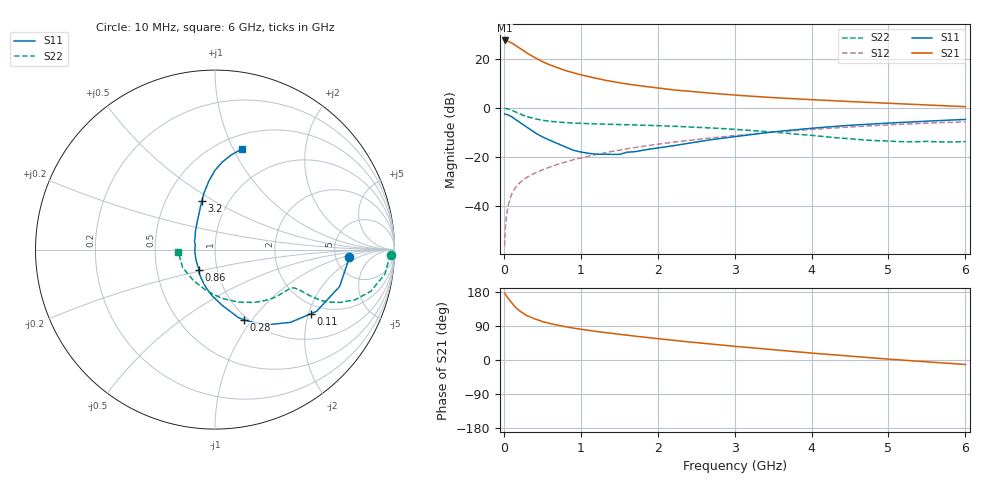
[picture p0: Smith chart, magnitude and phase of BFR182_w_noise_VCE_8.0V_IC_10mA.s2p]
! Infineon Technologies  Discrete & RF Semiconductors
! BFR182
! VCE =  8.0 V,  IC =  10 mA
! Common Emitter S-Parameters:  Nov 2015
# GHz  S  MA  R  50
!  f  S11  S21  S12  S22
! GHz  MAG  ANG  MAG  ANG  MAG  ANG  MAG  ANG
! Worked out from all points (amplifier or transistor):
!   210 points, 10 MHz to 6 GHz, reference 50 ohm
!   highest |S21| = 27.5 dB at 10 MHz (marker M1)
!   |S21| within 3 dB of that: start of sweep to 199.5 MHz
!   unconditionally stable (mu >= 1): 856.7 MHz to 2.786 GHz
!   at 185 MHz: K = 0.50, MSG = 28.0 dB, |S12| = -31.3 dB
!   at 1.52 GHz: K = 1.05, MAG = 12.3 dB, |S12| = -17.2 dB
!   at 6 GHz: K = 0.89, MSG = 3.1 dB, |S12| = -5.7 dB
!   lowest NFmin = 1.50 dB at 450 MHz
!   S11 on the Smith chart (normalised r, x): 10 MHz: 6.65, -1.29; 110 MHz: 1.71, -2.09; 280 MHz: 0.96, -0.91; 860 MHz: 0.81, -0.19; 3.2 GHz: 0.75, +0.45; 6 GHz: 0.64, +1.08
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0.01  0.7471 -3.3  23.71 176.2  0.0015 98.8  0.9791 -1.6
0.02  0.7403 -6.5  23.26 173.1  0.0035 86.6  0.9703 -3.3
0.05  0.7241 -16.5  23.05 164.5  0.0089 82.5  0.9568 -8.1
0.1  0.6621 -31.3  21.22 151.2  0.0172 75.9  0.8984 -15.0
0.11  0.6441 -33.6  20.69 149.0  0.0184 74.4  0.8837 -15.9
0.15  0.5838 -44.0  18.9 139.0  0.0235 70.2  0.8274 -19.8
0.19  0.5264 -52.1  17.16 132.1  0.0277 68.9  0.7726 -22.2
0.24  0.4653 -61.3  15.12 124.5  0.0326 66.9  0.715 -24.2
0.28  0.4219 -67.6  13.71 119.6  0.0363 66.6  0.6792 -25.1
0.3  0.4018 -70.9  13.06 117.1  0.0382 66.7  0.6626 -25.5
0.4  0.3123 -82.8  10.6 108.5  0.0462 66.5  0.5989 -25.9
0.5  0.2559 -94.0  8.754 101.4  0.0539 67.2  0.5567 -25.8
0.7  0.1858 -112.8  6.537 91.8  0.0701 67.6  0.5134 -25.7
0.86  0.1455 -128.7  5.419 85.7  0.0834 67.9  0.4936 -25.8
1.02  0.1235 -146.4  4.644 80.6  0.0962 67.9  0.4798 -26.4
1.4  0.1124 174.4  3.455 70.3  0.1282 66.8  0.4604 -29.7
2.02  0.1527 134.8  2.51 55.9  0.1825 62.9  0.4318 -37.0
3.1  0.2694 106.4  1.775 34.4  0.2799 53.3  0.3546 -56.0
3.2  0.2823 104.8  1.733 32.7  0.289 52.3  0.3452 -58.3
4.1  0.3939 94.1  1.44 16.7  0.3708 42.7  0.2641 -85.4
5.1  0.4971 84.3  1.226 0.9  0.4566 30.8  0.2057 -130.0
6  0.5803 75.0  1.056 -11.9  0.5179 18.7  0.2044 -175.5
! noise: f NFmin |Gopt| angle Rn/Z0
0.45  1.5  0.26  43  0.28
0.9  1.6  0.24  87  0.22
1.8  2.1  0.2  170  0.2
